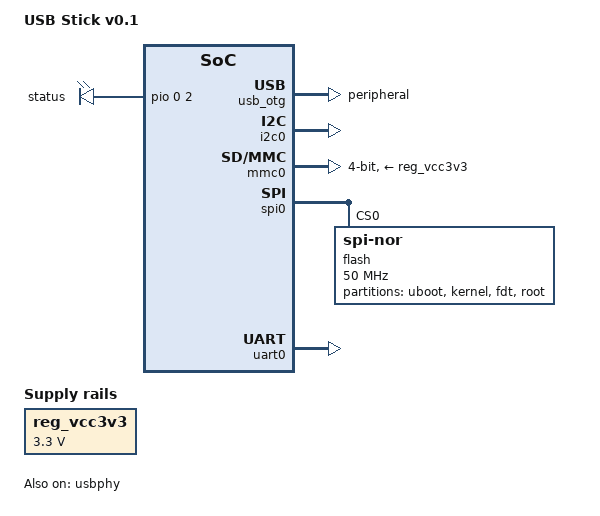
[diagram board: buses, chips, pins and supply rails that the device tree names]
// SPDX-License-Identifier: (GPL-2.0+ OR X11)
/*
 * Copyright 2020 BigfootACA <bigfoot@classfun.cn>
 */

/dts-v1/;
#include "suniv-f1c100s.dtsi"
#include <dt-bindings/gpio/gpio.h>
#include <dt-bindings/input/input.h>
#include <dt-bindings/interrupt-controller/irq.h>
#include "sunxi-common-regulators.dtsi"

/ {
	model = "USB Stick v0.1";
	compatible = "allwinner,suniv-f1c100s";

	aliases {
		serial0 = &uart0;
		spi0 = &spi0;
	};

	chosen {
		stdout-path = "serial0:115200n8";
	};

	leds {
		compatible = "gpio-leds";
		status {
			label = "status";
			gpios = <&pio 0 2 GPIO_ACTIVE_HIGH>;
		};
	};

	reg_vcc3v3: vcc3v3 {
		compatible = "regulator-fixed";
		regulator-name = "vcc3v3";
		regulator-min-microvolt = <3300000>;
		regulator-max-microvolt = <3300000>;
	};
};

&usb_otg {
	dr_mode = "peripheral";
	status = "okay";
};

&usbphy {
	status = "okay";
};

&otg_sram {
	status = "okay";
};

&i2c0 {
	pinctrl-0 = <&i2c0_pins>;
	pinctrl-names = "default";
	status = "okay";
};

&mmc0 {
	vmmc-supply = <&reg_vcc3v3>;
	bus-width = <4>;
	status = "okay";
};

&spi0 {
	pinctrl-names = "default";
	pinctrl-0 = <&spi0_pins_a>;
	status = "okay";

	flash: spi_nor@0 {
		#address-cells = <1>;
		#size-cells = <1>;
		compatible = "jedec,spi-nor";
		reg = <0>;
		spi-max-frequency = <50000000>;
		partitions {
			compatible = "fixed-partitions";
			#address-cells = <1>;
			#size-cells = <1>;

			partition@0 {
				label = "uboot";
				reg = <0x000000 0x02A000>;
				read-only;
			};

			partition@2A000 {
				label = "kernel";
				reg = <0x02A000 0x2BC000>;
				read-only;
			};

			partition@2E6000 {
				label = "fdt";
				reg = <0x2E6000 0x003000>;
				read-only;
			};

			partition@2E9000 {
				label = "root";
				reg = <0x2E9000 0x517000>;
				read-only;
			};
		};
	};

};

&uart0 {
	pinctrl-names = "default";
	pinctrl-0 = <&uart0_pe_pins>;
	status = "okay";
};
